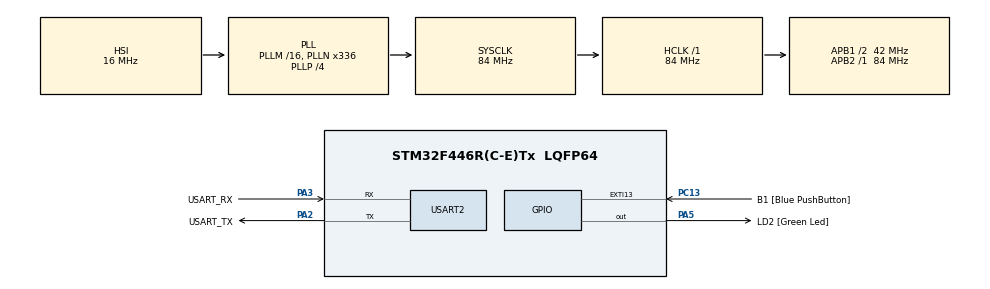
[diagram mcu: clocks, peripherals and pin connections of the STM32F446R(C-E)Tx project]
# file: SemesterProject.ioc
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Mcu.Family=STM32F4
Mcu.Name=STM32F446R(C-E)Tx
Mcu.Package=LQFP64
NVIC.PriorityGroup=NVIC_PRIORITYGROUP_0
NVIC.USART2_IRQn=true\:0\:0\:false\:false\:true\:true\:true\:true
PA13.GPIO_Label=TMS
PA13.Mode=Serial_Wire
PA13.Signal=SYS_JTMS-SWDIO
PA14.GPIO_Label=TCK
PA14.Mode=Serial_Wire
PA14.Signal=SYS_JTCK-SWCLK
PA2.GPIO_Label=USART_TX
PA2.Mode=Asynchronous
PA2.Signal=USART2_TX
PA3.GPIO_Label=USART_RX
PA3.Mode=Asynchronous
PA3.Signal=USART2_RX
PA5.GPIO_Label=LD2 [Green Led]
PA5.Signal=GPIO_Output
PB3.GPIO_Label=SWO
PB3.Signal=SYS_JTDO-SWO
PC13.GPIO_Label=B1 [Blue PushButton]
PC13.GPIO_ModeDefaultEXTI=GPIO_MODE_IT_FALLING
PC13.Signal=GPXTI13
PC14-OSC32_IN.Mode=LSE-External-Oscillator
PC14-OSC32_IN.Signal=RCC_OSC32_IN
PC15-OSC32_OUT.Mode=LSE-External-Oscillator
PC15-OSC32_OUT.Signal=RCC_OSC32_OUT
PH0-OSC_IN.Mode=HSE-External-Oscillator
PH0-OSC_IN.Signal=RCC_OSC_IN
PH1-OSC_OUT.Mode=HSE-External-Oscillator
PH1-OSC_OUT.Signal=RCC_OSC_OUT
ProjectManager.HeapSize=0x200
ProjectManager.StackSize=0x400
ProjectManager.TargetToolchain=STM32CubeIDE
RCC.48MHZClocksFreq_Value=84000000
RCC.AHBFreq_Value=84000000
RCC.APB1CLKDivider=RCC_HCLK_DIV2
RCC.APB1Freq_Value=42000000
RCC.APB1TimFreq_Value=84000000
RCC.APB2Freq_Value=84000000
RCC.APB2TimFreq_Value=84000000
RCC.CortexFreq_Value=84000000
RCC.FLatency-AdvancedSettings=FLASH_LATENCY_2
RCC.HCLKFreq_Value=84000000
RCC.HSE_VALUE=8000000
RCC.HSI_VALUE=16000000
RCC.PLLN=336
RCC.PLLP=RCC_PLLP_DIV4
RCC.SYSCLKFreq_VALUE=84000000
RCC.SYSCLKSource=RCC_SYSCLKSOURCE_PLLCLK
RCC.USBFreq_Value=168000000
RCC.VCOOutputFreq_Value=336000000
TIM3.Prescaler=8399
TIM4.Prescaler=8399
USART2.VirtualMode=VM_ASYNC
USART2.WordLength=WORDLENGTH_8B
VP_TIM3_VS_ClockSourceINT.Mode=Internal
VP_TIM4_VS_ClockSourceINT.Mode=Internal
board=NUCLEO-F446RE

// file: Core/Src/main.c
/* USER CODE BEGIN Header */
/**
  ******************************************************************************
  * @file           : main.c
  * @brief          : Main program body
  ******************************************************************************
  * @attention
  *
  * Copyright (c) 2022 STMicroelectronics.
  * All rights reserved.
  *
  * This software is licensed under terms that can be found in the LICENSE file
  * in the root directory of this software component.
  * If no LICENSE file comes with this software, it is provided AS-IS.
  *
  ******************************************************************************
  */
/* USER CODE END Header */
#include "main.h"

/* USER CODE BEGIN Includes */
#include <string.h>

/* USER CODE END Includes */

/* USER CODE BEGIN PD */
void y_string_init();
void line_recieved_handle();
void setting_recieved_handle();
/* USER CODE END PD */

 TIM_HandleTypeDef htim3;
TIM_HandleTypeDef htim4;

UART_HandleTypeDef huart2;

/* USER CODE BEGIN PV */
const char RAMP[] = " .:-=+*#%@";
uint8_t UART_Rx_Buff[2];
uint16_t settings[3] = {'\0'}; // x resolution, y resolution, num_frames
const uint8_t NUM_SETTINGS = 3; // number of settings transmitted at start
uint8_t settings_i = 0;
uint16_t y_count = 0;
uint8_t frame_count = 0;
uint8_t line_recieved = 0;
uint8_t settings_recieved = 0;

double refresh_time = 0;
double response_time = 0;

char x_string[500];
char y_string[500];
char up[] = "\033[F";

/* USER CODE END PV */

void SystemClock_Config(void);
static void MX_GPIO_Init(void);
static void MX_USART2_UART_Init(void);
static void MX_TIM3_Init(void);
static void MX_TIM4_Init(void);

int main(void)
{

  /* MCU Configuration--------------------------------------------------------*/

  /* Reset of all peripherals, Initializes the Flash interface and the Systick. */
  HAL_Init();

  /* Configure the system clock */
  SystemClock_Config();

  /* Initialize all configured peripherals */
  MX_GPIO_Init();
  MX_USART2_UART_Init();
  MX_TIM3_Init();
  MX_TIM4_Init();
  /* USER CODE BEGIN 2 */
  HAL_TIM_Base_Start(&htim3);
  HAL_TIM_Base_Start(&htim4);
  HAL_UART_Receive_IT(&huart2, (uint8_t*) UART_Rx_Buff, 2);
  /* USER CODE END 2 */

  /* Infinite loop */
  /* USER CODE BEGIN WHILE */
  while (1)
  {
	  if(line_recieved)
	  {
		  line_recieved_handle();
	  }
    /* USER CODE END WHILE */

    /* USER CODE BEGIN 3 */
	  if(settings_recieved)
	  {
		  setting_recieved_handle();
	  }
  }
  /* USER CODE END 3 */
}

void SystemClock_Config(void)
{
  RCC_OscInitTypeDef RCC_OscInitStruct = {0};
  RCC_ClkInitTypeDef RCC_ClkInitStruct = {0};

  /** Configure the main internal regulator output voltage
  */
  __HAL_RCC_PWR_CLK_ENABLE();
  __HAL_PWR_VOLTAGESCALING_CONFIG(PWR_REGULATOR_VOLTAGE_SCALE3);

  /** Initializes the RCC Oscillators according to the specified parameters
  * in the RCC_OscInitTypeDef structure.
  */
  RCC_OscInitStruct.OscillatorType = RCC_OSCILLATORTYPE_HSI;
  RCC_OscInitStruct.HSIState = RCC_HSI_ON;
  RCC_OscInitStruct.HSICalibrationValue = RCC_HSICALIBRATION_DEFAULT;
  RCC_OscInitStruct.PLL.PLLState = RCC_PLL_ON;
  RCC_OscInitStruct.PLL.PLLSource = RCC_PLLSOURCE_HSI;
  RCC_OscInitStruct.PLL.PLLM = 16;
  RCC_OscInitStruct.PLL.PLLN = 336;
  RCC_OscInitStruct.PLL.PLLP = RCC_PLLP_DIV4;
  RCC_OscInitStruct.PLL.PLLQ = 2;
  RCC_OscInitStruct.PLL.PLLR = 2;
  if (HAL_RCC_OscConfig(&RCC_OscInitStruct) != HAL_OK)
  {
    Error_Handler();
  }

  /** Initializes the CPU, AHB and APB buses clocks
  */
  RCC_ClkInitStruct.ClockType = RCC_CLOCKTYPE_HCLK|RCC_CLOCKTYPE_SYSCLK
                              |RCC_CLOCKTYPE_PCLK1|RCC_CLOCKTYPE_PCLK2;
  RCC_ClkInitStruct.SYSCLKSource = RCC_SYSCLKSOURCE_PLLCLK;
  RCC_ClkInitStruct.AHBCLKDivider = RCC_SYSCLK_DIV1;
  RCC_ClkInitStruct.APB1CLKDivider = RCC_HCLK_DIV2;
  RCC_ClkInitStruct.APB2CLKDivider = RCC_HCLK_DIV1;

  if (HAL_RCC_ClockConfig(&RCC_ClkInitStruct, FLASH_LATENCY_2) != HAL_OK)
  {
    Error_Handler();
  }
}

static void MX_TIM3_Init(void)
{

  TIM_ClockConfigTypeDef sClockSourceConfig = {0};
  TIM_MasterConfigTypeDef sMasterConfig = {0};

  htim3.Instance = TIM3;
  htim3.Init.Prescaler = 8399;
  htim3.Init.CounterMode = TIM_COUNTERMODE_UP;
  htim3.Init.Period = 65535;
  htim3.Init.ClockDivision = TIM_CLOCKDIVISION_DIV1;
  htim3.Init.AutoReloadPreload = TIM_AUTORELOAD_PRELOAD_DISABLE;
  if (HAL_TIM_Base_Init(&htim3) != HAL_OK)
  {
    Error_Handler();
  }
  sClockSourceConfig.ClockSource = TIM_CLOCKSOURCE_INTERNAL;
  if (HAL_TIM_ConfigClockSource(&htim3, &sClockSourceConfig) != HAL_OK)
  {
    Error_Handler();
  }
  sMasterConfig.MasterOutputTrigger = TIM_TRGO_RESET;
  sMasterConfig.MasterSlaveMode = TIM_MASTERSLAVEMODE_DISABLE;
  if (HAL_TIMEx_MasterConfigSynchronization(&htim3, &sMasterConfig) != HAL_OK)
  {
    Error_Handler();
  }

}

static void MX_TIM4_Init(void)
{

  TIM_ClockConfigTypeDef sClockSourceConfig = {0};
  TIM_MasterConfigTypeDef sMasterConfig = {0};

  htim4.Instance = TIM4;
  htim4.Init.Prescaler = 8399;
  htim4.Init.CounterMode = TIM_COUNTERMODE_UP;
  htim4.Init.Period = 65535;
  htim4.Init.ClockDivision = TIM_CLOCKDIVISION_DIV1;
  htim4.Init.AutoReloadPreload = TIM_AUTORELOAD_PRELOAD_DISABLE;
  if (HAL_TIM_Base_Init(&htim4) != HAL_OK)
  {
    Error_Handler();
  }
  sClockSourceConfig.ClockSource = TIM_CLOCKSOURCE_INTERNAL;
  if (HAL_TIM_ConfigClockSource(&htim4, &sClockSourceConfig) != HAL_OK)
  {
    Error_Handler();
  }
  sMasterConfig.MasterOutputTrigger = TIM_TRGO_RESET;
  sMasterConfig.MasterSlaveMode = TIM_MASTERSLAVEMODE_DISABLE;
  if (HAL_TIMEx_MasterConfigSynchronization(&htim4, &sMasterConfig) != HAL_OK)
  {
    Error_Handler();
  }

}

static void MX_USART2_UART_Init(void)
{

  huart2.Instance = USART2;
  huart2.Init.BaudRate = 115200;
  huart2.Init.WordLength = UART_WORDLENGTH_8B;
  huart2.Init.StopBits = UART_STOPBITS_1;
  huart2.Init.Parity = UART_PARITY_NONE;
  huart2.Init.Mode = UART_MODE_TX_RX;
  huart2.Init.HwFlowCtl = UART_HWCONTROL_NONE;
  huart2.Init.OverSampling = UART_OVERSAMPLING_16;
  if (HAL_UART_Init(&huart2) != HAL_OK)
  {
    Error_Handler();
  }

}

static void MX_GPIO_Init(void)
{
  GPIO_InitTypeDef GPIO_InitStruct = {0};

  /* GPIO Ports Clock Enable */
  __HAL_RCC_GPIOC_CLK_ENABLE();
  __HAL_RCC_GPIOH_CLK_ENABLE();
  __HAL_RCC_GPIOA_CLK_ENABLE();
  __HAL_RCC_GPIOB_CLK_ENABLE();

  /*Configure GPIO pin Output Level */
  HAL_GPIO_WritePin(LD2_GPIO_Port, LD2_Pin, GPIO_PIN_RESET);

  /*Configure GPIO pin : B1_Pin */
  GPIO_InitStruct.Pin = B1_Pin;
  GPIO_InitStruct.Mode = GPIO_MODE_IT_FALLING;
  GPIO_InitStruct.Pull = GPIO_NOPULL;
  HAL_GPIO_Init(B1_GPIO_Port, &GPIO_InitStruct);

  /*Configure GPIO pin : LD2_Pin */
  GPIO_InitStruct.Pin = LD2_Pin;
  GPIO_InitStruct.Mode = GPIO_MODE_OUTPUT_PP;
  GPIO_InitStruct.Pull = GPIO_NOPULL;
  GPIO_InitStruct.Speed = GPIO_SPEED_FREQ_LOW;
  HAL_GPIO_Init(LD2_GPIO_Port, &GPIO_InitStruct);

}

/* USER CODE BEGIN 4 */

void HAL_UART_RxCpltCallback(UART_HandleTypeDef *huart)
{
	if (settings_i <= (NUM_SETTINGS - 1))
	{
		settings_recieved = 1;
	}
	else
	{
		line_recieved = 1;
		__HAL_TIM_SET_COUNTER(&htim4, 0);
	}

	return;
}

void y_string_init()
{
	/* create a string to reset the cursor to the top of the frame */
	y_string[0] = '\0';
	for(int i = 0; i < settings[1] - 1; i++)
	{
		strncat(y_string, up, strlen(up));
	}

	return;
}

void line_recieved_handle()
{
	line_recieved = 0;
	/* Convertes grayscale to ascii */
	for(int i = 0; i < settings[0]; i++)
	{
		x_string[i] = RAMP[(x_string[i]/25)];
	}

	while(HAL_UART_Transmit_IT(&huart2, (uint8_t*) x_string, settings[0]));
	y_count++;
	if (y_count >= settings[1])
	{
		/* reset cursor to top of frame */
		while(HAL_UART_Transmit_IT(&huart2, (uint8_t*) y_string, strlen(y_string)));
		while(HAL_UART_Transmit_IT(&huart2, (uint8_t*) "\0", 1));
		y_count = 0;
		frame_count++;
		//HAL_TIM_Base_Stop(&htim3);
		/* Computes average frame rate */
		refresh_time = (refresh_time * (frame_count -1) + __HAL_TIM_GET_COUNTER(&htim3))/(frame_count);
		if(frame_count >= settings[2])
		{
			/* Resets program for next gif */
			settings_i = 0;
			frame_count = 0;
			response_time = 0;
			refresh_time = 0;
			HAL_UART_Receive_IT(&huart2, (uint8_t*) UART_Rx_Buff, 2);
			return;
		}
		else
		{
			__HAL_TIM_SET_COUNTER(&htim3, 0);
		}
	}
	else
	{
		while(HAL_UART_Transmit_IT(&huart2, (uint8_t*) "\n\r\0", 3));
	}

	HAL_UART_Receive_IT(&huart2, (uint8_t*) x_string, settings[0]);
	//HAL_TIM_Base_Stop(&htim4);
	/* computes the average response time */
	response_time = (response_time * ((frame_count * settings[1]) + (y_count -1)) + __HAL_TIM_GET_COUNTER(&htim4))/((frame_count * settings[1]) + y_count);

	return;
}

void setting_recieved_handle()
{
	settings_recieved = 0;
	/* Loads settings[0] low, then high then does the same for settings[1] */
	settings[settings_i] = ((uint16_t) UART_Rx_Buff[1] << 8) | (uint16_t) UART_Rx_Buff[0];
	UART_Rx_Buff[0] = 'f';
	while(HAL_UART_Transmit_IT( &huart2, (uint8_t*)  UART_Rx_Buff, 1));
	settings_i++;
	if (settings_i < NUM_SETTINGS)
	{
		/* get ready to recieve more settings */
		HAL_UART_Receive_IT(&huart2, (uint8_t*) UART_Rx_Buff, 2);
	}
	else
	{
		y_string_init();
		/* get ready to recieve image data */
		HAL_UART_Receive_IT(&huart2, (uint8_t*) x_string, settings[0]);
	}

	return;
}

/* USER CODE END 4 */

void Error_Handler(void)
{
  __disable_irq();
  while (1)
  {
  }
}
